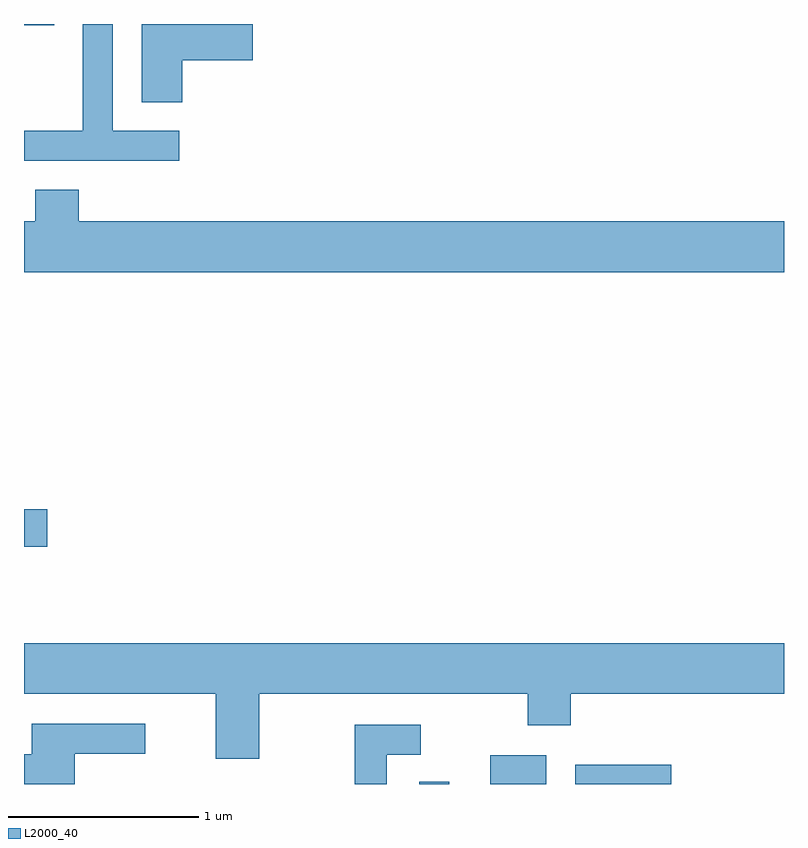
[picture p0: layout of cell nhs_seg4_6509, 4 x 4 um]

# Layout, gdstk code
import gdstk
lib = gdstk.Library(unit=1e-6, precision=1e-09)
def R(c, l, rs):  # rectangles x0, y0, x1, y1
    for r in rs: c.add(gdstk.rectangle(r[:2], r[2:], *l))
def P(c, l, *ps):  # polygons
    for p in ps: c.add(gdstk.Polygon(p, *l))
L2000_40 = (2000, 40)

nhs_seg4_6509 = lib.new_cell('nhs_seg4_6509')
R(nhs_seg4_6509, L2000_40, [(377.691,1351.982,377.849,1351.993), (378.066,1351.982,378.359,1352.134), (378.511,1351.982,379.018,1352.084), (375.611,1353.231,375.734,1353.429), (375.611,1355.976,375.769,1355.982)])
P(nhs_seg4_6509, L2000_40, [(376.428,1355.419),(376.079,1355.419),(376.079,1355.982),(375.921,1355.982),(375.921,1355.419),(375.611,1355.419),(375.611,1355.261),(376.428,1355.261)],
  [(376.444,1355.791),(376.814,1355.791),(376.814,1355.982),(376.231,1355.982),(376.231,1355.571),(376.444,1355.571)],
  [(379.611,1354.944),(375.899,1354.944),(375.899,1355.109),(375.671,1355.109),(375.671,1354.944),(375.611,1354.944),(375.611,1354.676),(379.611,1354.676)],
  [(376.849,1352.456),(378.261,1352.456),(378.261,1352.291),(378.489,1352.291),(378.489,1352.456),(379.611,1352.456),(379.611,1352.724),(375.611,1352.724),(375.611,1352.456),(376.621,1352.456),(376.621,1352.116),(376.849,1352.116)],
  [(375.879,1352.141),(376.248,1352.141),(376.248,1352.299),(375.651,1352.299),(375.651,1352.139),(375.611,1352.139),(375.611,1351.982),(375.879,1351.982)],
  [(377.519,1352.136),(377.698,1352.136),(377.698,1352.294),(377.351,1352.294),(377.351,1351.982),(377.519,1351.982)])

lib.write_gds('nhs_seg4_6509.gds')
